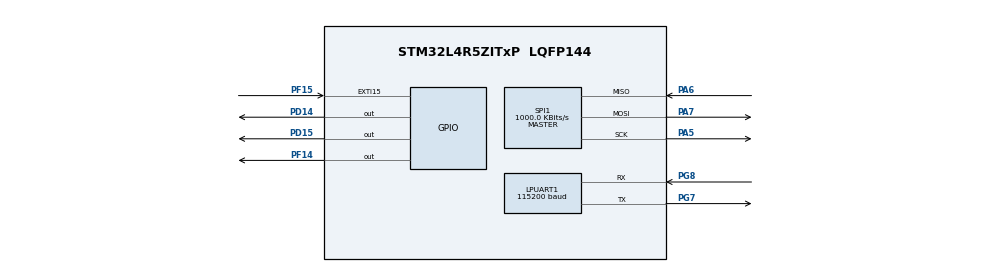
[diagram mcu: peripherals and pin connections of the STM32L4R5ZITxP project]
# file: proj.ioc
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LPUART1.BaudRate=115200
LPUART1.WordLength=UART_WORDLENGTH_8B
Mcu.Family=STM32L4
Mcu.Name=STM32L4R5ZITxP
Mcu.Package=LQFP144
NVIC.EXTI15_10_IRQn=true\:0\:0\:false\:false\:true\:true\:true\:true
NVIC.PriorityGroup=NVIC_PRIORITYGROUP_4
PA0.Signal=S_TIM2_CH1
PA1.Signal=ADCx_IN6
PA10.Signal=USB_OTG_FS_ID
PA13\ (JTMS/SWDIO).Signal=SYS_JTMS-SWDIO
PA14\ (JTCK/SWCLK).Signal=SYS_JTCK-SWCLK
PA3.Signal=ADCx_IN8
PA4.Signal=SPI1_NSS
PA5.Mode=Full_Duplex_Master
PA5.Signal=SPI1_SCK
PA6.Mode=Full_Duplex_Master
PA6.Signal=SPI1_MISO
PA7.Mode=Full_Duplex_Master
PA7.Signal=SPI1_MOSI
PA8.Signal=USB_OTG_FS_SOF
PA9.Signal=USB_OTG_FS_VBUS
PB0.Signal=S_TIM3_CH3
PB1.Signal=ADCx_IN16
PB10.Signal=S_TIM2_CH3
PB12.Signal=SAI2_FS_A
PB13.Signal=SAI2_SCK_A
PB14.Signal=S_TIM15_CH1
PB15.Signal=SAI2_SD_A
PB2.Signal=COMP1_INP
PB3\ (JTDO/TRACESWO).Signal=SPI3_SCK
PB4\ (NJTRST).Signal=SPI3_MISO
PB5.Signal=SPI3_MOSI
PB6.Signal=COMP2_INP
PB8.Signal=I2C1_SCL
PB9.Signal=I2C1_SDA
PC0.Signal=ADCx_IN1
PC1.Signal=ADCx_IN2
PC10.Signal=SDMMC1_D2
PC11.Signal=SDMMC1_D3
PC12.Signal=SDMMC1_CK
PC13.Signal=SYS_WKUP2
PC14-OSC32_IN\ (PC14).Signal=RCC_OSC32_IN
PC15-OSC32_OUT\ (PC15).Signal=RCC_OSC32_OUT
PC2.Signal=ADCx_IN3
PC3.Signal=ADCx_IN4
PC4.Signal=ADCx_IN13
PC5.Signal=ADCx_IN14
PC6.Signal=SAI2_MCLK_A
PC7.Signal=S_TIM3_CH2
PC8.Signal=SDMMC1_D0
PC9.Signal=SDMMC1_D1
PD0.Signal=CAN1_RX
PD14.GPIO_Speed=GPIO_SPEED_FREQ_HIGH
PD14.PinState=GPIO_PIN_SET
PD14.Signal=GPIO_Output
PD15.GPIO_Speed=GPIO_SPEED_FREQ_HIGH
PD15.Signal=GPIO_Output
PD2.Signal=SDMMC1_CMD
PD3.Signal=USART2_CTS
PD4.Signal=USART2_RTS
PD5.Signal=USART2_TX
PD6.Signal=USART2_RX
PD8.Signal=USART3_TX
PD9.Signal=USART3_RX
PE0.Signal=S_TIM4_ETR
PE10.Signal=TIM1_CH2N
PE11.Signal=S_TIM1_CH2
PE12.Signal=TIM1_CH3N
PE13.Signal=S_TIM1_CH3
PE14.Signal=TIM1_BKIN2
PE15.Signal=TIM1_BKIN
PE2.Signal=SAI1_MCLK_A
PE3.Signal=SAI1_SD_B
PE7.Signal=S_TIM1_ETR
PE8.Signal=TIM1_CH1N
PE9.Signal=S_TIM1_CH1
PF0.Signal=I2C2_SDA
PF1.Signal=I2C2_SCL
PF14.PinState=GPIO_PIN_SET
PF14.Signal=GPIO_Output
PF15.GPIO_ModeDefaultEXTI=GPIO_MODE_IT_FALLING
PF15.Signal=GPXTI15
PF2.Signal=I2C2_SMBA
PF7.Signal=SAI1_MCLK_B
PG7.Mode=Asynchronous
PG7.Signal=LPUART1_TX
PG8.Mode=Asynchronous
PG8.Signal=LPUART1_RX
PH0-OSC_IN\ (PH0).Signal=RCC_OSC_IN
PH1-OSC_OUT\ (PH1).Signal=RCC_OSC_OUT
ProjectManager.HeapSize=0x200
ProjectManager.StackSize=0x400
ProjectManager.TargetToolchain=STM32CubeIDE
RCC.HSE_VALUE=8000000
RCC.HSI48_VALUE=48000000
RCC.HSI_VALUE=16000000
RCC.LSE_VALUE=32768
RCC.MSI_VALUE=4000000
RCC.VCOOutputFreq_Value=32000000
SH.ADCx_IN1.0=ADC1_IN1
SH.ADCx_IN13.0=ADC1_IN13
SH.ADCx_IN14.0=ADC1_IN14
SH.ADCx_IN16.0=ADC1_IN16
SH.ADCx_IN2.0=ADC1_IN2
SH.ADCx_IN3.0=ADC1_IN3
SH.ADCx_IN4.0=ADC1_IN4
SH.ADCx_IN6.0=ADC1_IN6
SH.ADCx_IN8.0=ADC1_IN8
SH.S_TIM15_CH1.0=TIM15_CH1
SH.S_TIM1_CH1.0=TIM1_CH1
SH.S_TIM1_CH2.0=TIM1_CH2
SH.S_TIM1_CH3.0=TIM1_CH3
SH.S_TIM1_ETR.0=TIM1_ETR
SH.S_TIM2_CH1.0=TIM2_CH1
SH.S_TIM2_CH3.0=TIM2_CH3
SH.S_TIM3_CH2.0=TIM3_CH2
SH.S_TIM3_CH3.0=TIM3_CH3
SH.S_TIM4_ETR.0=TIM4_ETR
SPI1.BaudRatePrescaler=SPI_BAUDRATEPRESCALER_4
SPI1.CalculateBaudRate=1000.0 KBits/s
SPI1.DataSize=SPI_DATASIZE_8BIT
SPI1.Direction=SPI_DIRECTION_2LINES
SPI1.Mode=SPI_MODE_MASTER
SPI1.NSSPMode=SPI_NSS_PULSE_DISABLE
SPI1.VirtualType=VM_MASTER
board=NUCLEO-L4R5ZI-P

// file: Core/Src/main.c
/* USER CODE BEGIN Header */
/**
  ******************************************************************************
  * @file           : main.c
  * @brief          : Main program body
  ******************************************************************************
  * @attention
  *
  * Copyright (c) 2025 STMicroelectronics.
  * All rights reserved.
  *
  * This software is licensed under terms that can be found in the LICENSE file
  * in the root directory of this software component.
  * If no LICENSE file comes with this software, it is provided AS-IS.
  *
  ******************************************************************************
  */
/* USER CODE END Header */
#include "main.h"

/* USER CODE BEGIN Includes */

#include "net_w5500.h"

/* USER CODE END Includes */

/* USER CODE BEGIN PD */
#define W5500_CS_GPIO_Port   GPIOD
#define W5500_CS_Pin         GPIO_PIN_14   // your CS

#define W5500_INT_GPIO_Port  GPIOF
#define W5500_INT_Pin        GPIO_PIN_15

#define W5500_RST_GPIO_Port   GPIOD
#define W5500_RST_Pin         GPIO_PIN_15

#define W5500_COMMON_BLOCK   0x00  // BSB for common regs
#define W5500_OM_VDM         0x00  // variable data length mode
#define W5500_RWB_READ       0x01  // <-- note: this bit position depends on datasheet bitfield; see note below

static inline void W5500_Select(void)   { HAL_GPIO_WritePin(W5500_CS_GPIO_Port, W5500_CS_Pin, GPIO_PIN_RESET); }
static inline void W5500_Deselect(void) { HAL_GPIO_WritePin(W5500_CS_GPIO_Port, W5500_CS_Pin, GPIO_PIN_SET); }

UART_HandleTypeDef hlpuart1;  // we'll use LPUART1 on PG7(TX)/PG8(RX)

/* USER CODE END PD */

UART_HandleTypeDef hlpuart1;

SPI_HandleTypeDef hspi1;

void SystemClock_Config(void);
static void MX_GPIO_Init(void);
static void MX_SPI1_Init(void);
static void MX_LPUART1_UART_Init(void);

/* USER CODE BEGIN 0 */

// 1-byte SPI xfer helper
static uint8_t spi_txrx1(uint8_t v) {
  uint8_t rx;
  HAL_SPI_TransmitReceive(&hspi1, &v, &rx, 1, HAL_MAX_DELAY);
  return rx;
}

//void HAL_GPIO_EXTI_Callback(uint16_t GPIO_Pin) {
//  if (GPIO_Pin == W5500_INT_Pin) {
//    net_w5500_irq_handler();
//  }
//}

uint8_t W5500_ReadVersion(void) {
  uint8_t ver;
  W5500_Select();
  spi_txrx1(0x00); // Address High (VERSIONR = 0x0039)
  spi_txrx1(0x39); // Address Low
  spi_txrx1(0x00); // Control: Common Block, Read, VDM Mode
  ver = spi_txrx1(0x00); // Dummy byte to clock in the data
  W5500_Deselect();
  return ver;
}

int _write(int file, char *ptr, int len)
{
  (void)file;
  HAL_UART_Transmit(&hlpuart1, (uint8_t *)ptr, len, HAL_MAX_DELAY);
  return len;
}

/* USER CODE END 0 */

int main(void)
{

  /* MCU Configuration--------------------------------------------------------*/

  /* Reset of all peripherals, Initializes the Flash interface and the Systick. */
  HAL_Init();

  /* Configure the system clock */
  SystemClock_Config();

  /* Initialize all configured peripherals */
  MX_GPIO_Init();
  MX_SPI1_Init();
  MX_LPUART1_UART_Init();
  /* USER CODE BEGIN 2 */

  ethernet_start();                   // DHCP → static fallback
  net_start_server(NET_SERVER_PORT);  // default 5000

  printf("nc -v <ip> %u\r\n", NET_SERVER_PORT);
  printf("nc -v <ip> 5000   (type lines, press Enter)\r\n");

  int last_connected = 0;
  uint32_t last_tick = 0;

  for (;;) {
	// keep the socket serviced
	net_poll();

	// verify connection status
	int connected = net_is_connected();

    // Send a one-time greeting right after a client connects
    if (connected && !last_connected) {
      printf("Connected!\n");
      net_send_str("Hello from Nucleo! Type something and press Enter; I'll echo ACK.");
    }

    // Example: send a periodic message every 1s while connected
    uint32_t now = HAL_GetTick();
    if (connected && (now - last_tick) >= 1000) {
      char buf[64];
      snprintf(buf, sizeof buf, "tick %lu ms\n", (unsigned long)now);
      net_send_str(buf);
      last_tick = now;
    }

    char line[256];
    int n = net_recv_line(line, sizeof line, 0);  // non-blocking
    if (n > 0) {
      HAL_UART_Transmit(&hlpuart1, (uint8_t*)"RX: ", 4, HAL_MAX_DELAY);
      HAL_UART_Transmit(&hlpuart1, (uint8_t*)line, n, HAL_MAX_DELAY);
      HAL_UART_Transmit(&hlpuart1, (uint8_t*)"\n", 1, HAL_MAX_DELAY);

      net_send_str("ACK: ");
      net_send_str(line);
      net_send_str("\n");
    }

    last_connected = connected;
  }

  /* USER CODE END 2 */

  /* Infinite loop */
  while (1)
  {

  }
}

void SystemClock_Config(void)
{
  RCC_OscInitTypeDef RCC_OscInitStruct = {0};
  RCC_ClkInitTypeDef RCC_ClkInitStruct = {0};

  /** Configure the main internal regulator output voltage
  */
  if (HAL_PWREx_ControlVoltageScaling(PWR_REGULATOR_VOLTAGE_SCALE1) != HAL_OK)
  {
    Error_Handler();
  }

  /** Initializes the RCC Oscillators according to the specified parameters
  * in the RCC_OscInitTypeDef structure.
  */
  RCC_OscInitStruct.OscillatorType = RCC_OSCILLATORTYPE_MSI;
  RCC_OscInitStruct.MSIState = RCC_MSI_ON;
  RCC_OscInitStruct.MSICalibrationValue = 0;
  RCC_OscInitStruct.MSIClockRange = RCC_MSIRANGE_6;
  RCC_OscInitStruct.PLL.PLLState = RCC_PLL_NONE;
  if (HAL_RCC_OscConfig(&RCC_OscInitStruct) != HAL_OK)
  {
    Error_Handler();
  }

  /** Initializes the CPU, AHB and APB buses clocks
  */
  RCC_ClkInitStruct.ClockType = RCC_CLOCKTYPE_HCLK|RCC_CLOCKTYPE_SYSCLK
                              |RCC_CLOCKTYPE_PCLK1|RCC_CLOCKTYPE_PCLK2;
  RCC_ClkInitStruct.SYSCLKSource = RCC_SYSCLKSOURCE_MSI;
  RCC_ClkInitStruct.AHBCLKDivider = RCC_SYSCLK_DIV1;
  RCC_ClkInitStruct.APB1CLKDivider = RCC_HCLK_DIV1;
  RCC_ClkInitStruct.APB2CLKDivider = RCC_HCLK_DIV1;

  if (HAL_RCC_ClockConfig(&RCC_ClkInitStruct, FLASH_LATENCY_0) != HAL_OK)
  {
    Error_Handler();
  }
}

static void MX_LPUART1_UART_Init(void)
{

  hlpuart1.Instance = LPUART1;
  hlpuart1.Init.BaudRate = 115200;
  hlpuart1.Init.WordLength = UART_WORDLENGTH_8B;
  hlpuart1.Init.StopBits = UART_STOPBITS_1;
  hlpuart1.Init.Parity = UART_PARITY_NONE;
  hlpuart1.Init.Mode = UART_MODE_TX_RX;
  hlpuart1.Init.HwFlowCtl = UART_HWCONTROL_NONE;
  hlpuart1.Init.OneBitSampling = UART_ONE_BIT_SAMPLE_DISABLE;
  hlpuart1.Init.ClockPrescaler = UART_PRESCALER_DIV1;
  hlpuart1.AdvancedInit.AdvFeatureInit = UART_ADVFEATURE_NO_INIT;
  hlpuart1.FifoMode = UART_FIFOMODE_DISABLE;
  if (HAL_UART_Init(&hlpuart1) != HAL_OK)
  {
    Error_Handler();
  }
  if (HAL_UARTEx_SetTxFifoThreshold(&hlpuart1, UART_TXFIFO_THRESHOLD_1_8) != HAL_OK)
  {
    Error_Handler();
  }
  if (HAL_UARTEx_SetRxFifoThreshold(&hlpuart1, UART_RXFIFO_THRESHOLD_1_8) != HAL_OK)
  {
    Error_Handler();
  }
  if (HAL_UARTEx_DisableFifoMode(&hlpuart1) != HAL_OK)
  {
    Error_Handler();
  }

}

static void MX_SPI1_Init(void)
{

  /* SPI1 parameter configuration*/
  hspi1.Instance = SPI1;
  hspi1.Init.Mode = SPI_MODE_MASTER;
  hspi1.Init.Direction = SPI_DIRECTION_2LINES;
  hspi1.Init.DataSize = SPI_DATASIZE_8BIT;
  hspi1.Init.CLKPolarity = SPI_POLARITY_LOW;
  hspi1.Init.CLKPhase = SPI_PHASE_1EDGE;
  hspi1.Init.NSS = SPI_NSS_SOFT;
  hspi1.Init.BaudRatePrescaler = SPI_BAUDRATEPRESCALER_4;
  hspi1.Init.FirstBit = SPI_FIRSTBIT_MSB;
  hspi1.Init.TIMode = SPI_TIMODE_DISABLE;
  hspi1.Init.CRCCalculation = SPI_CRCCALCULATION_DISABLE;
  hspi1.Init.CRCPolynomial = 7;
  hspi1.Init.CRCLength = SPI_CRC_LENGTH_DATASIZE;
  hspi1.Init.NSSPMode = SPI_NSS_PULSE_DISABLE;
  if (HAL_SPI_Init(&hspi1) != HAL_OK)
  {
    Error_Handler();
  }

}

static void MX_GPIO_Init(void)
{
  GPIO_InitTypeDef GPIO_InitStruct = {0};

  /* GPIO Ports Clock Enable */
  __HAL_RCC_GPIOE_CLK_ENABLE();
  __HAL_RCC_GPIOC_CLK_ENABLE();
  __HAL_RCC_GPIOF_CLK_ENABLE();
  __HAL_RCC_GPIOH_CLK_ENABLE();
  __HAL_RCC_GPIOA_CLK_ENABLE();
  __HAL_RCC_GPIOB_CLK_ENABLE();
  __HAL_RCC_GPIOD_CLK_ENABLE();
  __HAL_RCC_GPIOG_CLK_ENABLE();
  HAL_PWREx_EnableVddIO2();

  /*Configure GPIO pin Output Level */
  HAL_GPIO_WritePin(GPIOF, GPIO_PIN_14, GPIO_PIN_SET);

  /*Configure GPIO pin Output Level */
  HAL_GPIO_WritePin(GPIOD, GPIO_PIN_14, GPIO_PIN_SET);

  /*Configure GPIO pin Output Level */
  HAL_GPIO_WritePin(GPIOD, GPIO_PIN_15, GPIO_PIN_RESET);

  /*Configure GPIO pins : PE2 PE3 */
  GPIO_InitStruct.Pin = GPIO_PIN_2|GPIO_PIN_3;
  GPIO_InitStruct.Mode = GPIO_MODE_AF_PP;
  GPIO_InitStruct.Pull = GPIO_NOPULL;
  GPIO_InitStruct.Speed = GPIO_SPEED_FREQ_LOW;
  GPIO_InitStruct.Alternate = GPIO_AF13_SAI1;
  HAL_GPIO_Init(GPIOE, &GPIO_InitStruct);

  /*Configure GPIO pins : PF0 PF1 PF2 */
  GPIO_InitStruct.Pin = GPIO_PIN_0|GPIO_PIN_1|GPIO_PIN_2;
  GPIO_InitStruct.Mode = GPIO_MODE_AF_OD;
  GPIO_InitStruct.Pull = GPIO_NOPULL;
  GPIO_InitStruct.Speed = GPIO_SPEED_FREQ_VERY_HIGH;
  GPIO_InitStruct.Alternate = GPIO_AF4_I2C2;
  HAL_GPIO_Init(GPIOF, &GPIO_InitStruct);

  /*Configure GPIO pin : PF7 */
  GPIO_InitStruct.Pin = GPIO_PIN_7;
  GPIO_InitStruct.Mode = GPIO_MODE_AF_PP;
  GPIO_InitStruct.Pull = GPIO_NOPULL;
  GPIO_InitStruct.Speed = GPIO_SPEED_FREQ_LOW;
  GPIO_InitStruct.Alternate = GPIO_AF13_SAI1;
  HAL_GPIO_Init(GPIOF, &GPIO_InitStruct);

  /*Configure GPIO pins : PC0 PC1 PC2 PC3
                           PC4 PC5 */
  GPIO_InitStruct.Pin = GPIO_PIN_0|GPIO_PIN_1|GPIO_PIN_2|GPIO_PIN_3
                          |GPIO_PIN_4|GPIO_PIN_5;
  GPIO_InitStruct.Mode = GPIO_MODE_ANALOG_ADC_CONTROL;
  GPIO_InitStruct.Pull = GPIO_NOPULL;
  HAL_GPIO_Init(GPIOC, &GPIO_InitStruct);

  /*Configure GPIO pin : PA0 */
  GPIO_InitStruct.Pin = GPIO_PIN_0;
  GPIO_InitStruct.Mode = GPIO_MODE_AF_PP;
  GPIO_InitStruct.Pull = GPIO_NOPULL;
  GPIO_InitStruct.Speed = GPIO_SPEED_FREQ_LOW;
  GPIO_InitStruct.Alternate = GPIO_AF1_TIM2;
  HAL_GPIO_Init(GPIOA, &GPIO_InitStruct);

  /*Configure GPIO pins : PA1 PA3 */
  GPIO_InitStruct.Pin = GPIO_PIN_1|GPIO_PIN_3;
  GPIO_InitStruct.Mode = GPIO_MODE_ANALOG_ADC_CONTROL;
  GPIO_InitStruct.Pull = GPIO_NOPULL;
  HAL_GPIO_Init(GPIOA, &GPIO_InitStruct);

  /*Configure GPIO pin : PB0 */
  GPIO_InitStruct.Pin = GPIO_PIN_0;
  GPIO_InitStruct.Mode = GPIO_MODE_AF_PP;
  GPIO_InitStruct.Pull = GPIO_NOPULL;
  GPIO_InitStruct.Speed = GPIO_SPEED_FREQ_LOW;
  GPIO_InitStruct.Alternate = GPIO_AF2_TIM3;
  HAL_GPIO_Init(GPIOB, &GPIO_InitStruct);

  /*Configure GPIO pin : PB1 */
  GPIO_InitStruct.Pin = GPIO_PIN_1;
  GPIO_InitStruct.Mode = GPIO_MODE_ANALOG_ADC_CONTROL;
  GPIO_InitStruct.Pull = GPIO_NOPULL;
  HAL_GPIO_Init(GPIOB, &GPIO_InitStruct);

  /*Configure GPIO pins : PB2 PB6 */
  GPIO_InitStruct.Pin = GPIO_PIN_2|GPIO_PIN_6;
  GPIO_InitStruct.Mode = GPIO_MODE_ANALOG;
  GPIO_InitStruct.Pull = GPIO_NOPULL;
  HAL_GPIO_Init(GPIOB, &GPIO_InitStruct);

  /*Configure GPIO pin : PF14 */
  GPIO_InitStruct.Pin = GPIO_PIN_14;
  GPIO_InitStruct.Mode = GPIO_MODE_OUTPUT_PP;
  GPIO_InitStruct.Pull = GPIO_NOPULL;
  GPIO_InitStruct.Speed = GPIO_SPEED_FREQ_LOW;
  HAL_GPIO_Init(GPIOF, &GPIO_InitStruct);

  /*Configure GPIO pin : PF15 */
  GPIO_InitStruct.Pin = GPIO_PIN_15;
  GPIO_InitStruct.Mode = GPIO_MODE_IT_FALLING;
  GPIO_InitStruct.Pull = GPIO_NOPULL;
  HAL_GPIO_Init(GPIOF, &GPIO_InitStruct);

  /*Configure GPIO pins : PE7 PE8 PE9 PE10
                           PE11 PE12 PE13 */
  GPIO_InitStruct.Pin = GPIO_PIN_7|GPIO_PIN_8|GPIO_PIN_9|GPIO_PIN_10
                          |GPIO_PIN_11|GPIO_PIN_12|GPIO_PIN_13;
  GPIO_InitStruct.Mode = GPIO_MODE_AF_PP;
  GPIO_InitStruct.Pull = GPIO_NOPULL;
  GPIO_InitStruct.Speed = GPIO_SPEED_FREQ_LOW;
  GPIO_InitStruct.Alternate = GPIO_AF1_TIM1;
  HAL_GPIO_Init(GPIOE, &GPIO_InitStruct);

  /*Configure GPIO pins : PE14 PE15 */
  GPIO_InitStruct.Pin = GPIO_PIN_14|GPIO_PIN_15;
  GPIO_InitStruct.Mode = GPIO_MODE_AF_PP;
  GPIO_InitStruct.Pull = GPIO_NOPULL;
  GPIO_InitStruct.Speed = GPIO_SPEED_FREQ_LOW;
  GPIO_InitStruct.Alternate = GPIO_AF3_TIM1_COMP1;
  HAL_GPIO_Init(GPIOE, &GPIO_InitStruct);

  /*Configure GPIO pin : PB10 */
  GPIO_InitStruct.Pin = GPIO_PIN_10;
  GPIO_InitStruct.Mode = GPIO_MODE_AF_PP;
  GPIO_InitStruct.Pull = GPIO_NOPULL;
  GPIO_InitStruct.Speed = GPIO_SPEED_FREQ_LOW;
  GPIO_InitStruct.Alternate = GPIO_AF1_TIM2;
  HAL_GPIO_Init(GPIOB, &GPIO_InitStruct);

  /*Configure GPIO pins : PB12 PB13 PB15 */
  GPIO_InitStruct.Pin = GPIO_PIN_12|GPIO_PIN_13|GPIO_PIN_15;
  GPIO_InitStruct.Mode = GPIO_MODE_AF_PP;
  GPIO_InitStruct.Pull = GPIO_NOPULL;
  GPIO_InitStruct.Speed = GPIO_SPEED_FREQ_LOW;
  GPIO_InitStruct.Alternate = GPIO_AF13_SAI2;
  HAL_GPIO_Init(GPIOB, &GPIO_InitStruct);

  /*Configure GPIO pin : PB14 */
  GPIO_InitStruct.Pin = GPIO_PIN_14;
  GPIO_InitStruct.Mode = GPIO_MODE_AF_PP;
  GPIO_InitStruct.Pull = GPIO_NOPULL;
  GPIO_InitStruct.Speed = GPIO_SPEED_FREQ_LOW;
  GPIO_InitStruct.Alternate = GPIO_AF14_TIM15;
  HAL_GPIO_Init(GPIOB, &GPIO_InitStruct);

  /*Configure GPIO pins : PD8 PD9 */
  GPIO_InitStruct.Pin = GPIO_PIN_8|GPIO_PIN_9;
  GPIO_InitStruct.Mode = GPIO_MODE_AF_PP;
  GPIO_InitStruct.Pull = GPIO_NOPULL;
  GPIO_InitStruct.Speed = GPIO_SPEED_FREQ_VERY_HIGH;
  GPIO_InitStruct.Alternate = GPIO_AF7_USART3;
  HAL_GPIO_Init(GPIOD, &GPIO_InitStruct);

  /*Configure GPIO pins : PD14 PD15 */
  GPIO_InitStruct.Pin = GPIO_PIN_14|GPIO_PIN_15;
  GPIO_InitStruct.Mode = GPIO_MODE_OUTPUT_PP;
  GPIO_InitStruct.Pull = GPIO_NOPULL;
  GPIO_InitStruct.Speed = GPIO_SPEED_FREQ_HIGH;
  HAL_GPIO_Init(GPIOD, &GPIO_InitStruct);

  /*Configure GPIO pin : PC6 */
  GPIO_InitStruct.Pin = GPIO_PIN_6;
  GPIO_InitStruct.Mode = GPIO_MODE_AF_PP;
  GPIO_InitStruct.Pull = GPIO_NOPULL;
  GPIO_InitStruct.Speed = GPIO_SPEED_FREQ_LOW;
  GPIO_InitStruct.Alternate = GPIO_AF13_SAI2;
  HAL_GPIO_Init(GPIOC, &GPIO_InitStruct);

  /*Configure GPIO pin : PC7 */
  GPIO_InitStruct.Pin = GPIO_PIN_7;
  GPIO_InitStruct.Mode = GPIO_MODE_AF_PP;
  GPIO_InitStruct.Pull = GPIO_NOPULL;
  GPIO_InitStruct.Speed = GPIO_SPEED_FREQ_LOW;
  GPIO_InitStruct.Alternate = GPIO_AF2_TIM3;
  HAL_GPIO_Init(GPIOC, &GPIO_InitStruct);

  /*Configure GPIO pins : PC8 PC9 PC10 PC11
                           PC12 */
  GPIO_InitStruct.Pin = GPIO_PIN_8|GPIO_PIN_9|GPIO_PIN_10|GPIO_PIN_11
                          |GPIO_PIN_12;
  GPIO_InitStruct.Mode = GPIO_MODE_AF_PP;
  GPIO_InitStruct.Pull = GPIO_NOPULL;
  GPIO_InitStruct.Speed = GPIO_SPEED_FREQ_VERY_HIGH;
  GPIO_InitStruct.Alternate = GPIO_AF12_SDMMC1;
  HAL_GPIO_Init(GPIOC, &GPIO_InitStruct);

  /*Configure GPIO pins : PA8 PA10 */
  GPIO_InitStruct.Pin = GPIO_PIN_8|GPIO_PIN_10;
  GPIO_InitStruct.Mode = GPIO_MODE_AF_PP;
  GPIO_InitStruct.Pull = GPIO_NOPULL;
  GPIO_InitStruct.Speed = GPIO_SPEED_FREQ_VERY_HIGH;
  GPIO_InitStruct.Alternate = GPIO_AF10_OTG_FS;
  HAL_GPIO_Init(GPIOA, &GPIO_InitStruct);

  /*Configure GPIO pin : PA9 */
  GPIO_InitStruct.Pin = GPIO_PIN_9;
  GPIO_InitStruct.Mode = GPIO_MODE_INPUT;
  GPIO_InitStruct.Pull = GPIO_NOPULL;
  HAL_GPIO_Init(GPIOA, &GPIO_InitStruct);

  /*Configure GPIO pin : PD0 */
  GPIO_InitStruct.Pin = GPIO_PIN_0;
  GPIO_InitStruct.Mode = GPIO_MODE_AF_PP;
  GPIO_InitStruct.Pull = GPIO_NOPULL;
  GPIO_InitStruct.Speed = GPIO_SPEED_FREQ_VERY_HIGH;
  GPIO_InitStruct.Alternate = GPIO_AF9_CAN1;
  HAL_GPIO_Init(GPIOD, &GPIO_InitStruct);

  /*Configure GPIO pin : PD2 */
  GPIO_InitStruct.Pin = GPIO_PIN_2;
  GPIO_InitStruct.Mode = GPIO_MODE_AF_PP;
  GPIO_InitStruct.Pull = GPIO_NOPULL;
  GPIO_InitStruct.Speed = GPIO_SPEED_FREQ_VERY_HIGH;
  GPIO_InitStruct.Alternate = GPIO_AF12_SDMMC1;
  HAL_GPIO_Init(GPIOD, &GPIO_InitStruct);

  /*Configure GPIO pins : PD3 PD4 PD5 PD6 */
  GPIO_InitStruct.Pin = GPIO_PIN_3|GPIO_PIN_4|GPIO_PIN_5|GPIO_PIN_6;
  GPIO_InitStruct.Mode = GPIO_MODE_AF_PP;
  GPIO_InitStruct.Pull = GPIO_NOPULL;
  GPIO_InitStruct.Speed = GPIO_SPEED_FREQ_VERY_HIGH;
  GPIO_InitStruct.Alternate = GPIO_AF7_USART2;
  HAL_GPIO_Init(GPIOD, &GPIO_InitStruct);

  /*Configure GPIO pins : PB3 PB4 PB5 */
  GPIO_InitStruct.Pin = GPIO_PIN_3|GPIO_PIN_4|GPIO_PIN_5;
  GPIO_InitStruct.Mode = GPIO_MODE_AF_PP;
  GPIO_InitStruct.Pull = GPIO_NOPULL;
  GPIO_InitStruct.Speed = GPIO_SPEED_FREQ_VERY_HIGH;
  GPIO_InitStruct.Alternate = GPIO_AF6_SPI3;
  HAL_GPIO_Init(GPIOB, &GPIO_InitStruct);

  /*Configure GPIO pins : PB8 PB9 */
  GPIO_InitStruct.Pin = GPIO_PIN_8|GPIO_PIN_9;
  GPIO_InitStruct.Mode = GPIO_MODE_AF_OD;
  GPIO_InitStruct.Pull = GPIO_NOPULL;
  GPIO_InitStruct.Speed = GPIO_SPEED_FREQ_VERY_HIGH;
  GPIO_InitStruct.Alternate = GPIO_AF4_I2C1;
  HAL_GPIO_Init(GPIOB, &GPIO_InitStruct);

  /*Configure GPIO pin : PE0 */
  GPIO_InitStruct.Pin = GPIO_PIN_0;
  GPIO_InitStruct.Mode = GPIO_MODE_AF_PP;
  GPIO_InitStruct.Pull = GPIO_NOPULL;
  GPIO_InitStruct.Speed = GPIO_SPEED_FREQ_LOW;
  GPIO_InitStruct.Alternate = GPIO_AF2_TIM4;
  HAL_GPIO_Init(GPIOE, &GPIO_InitStruct);

  /* EXTI interrupt init*/
  HAL_NVIC_SetPriority(EXTI15_10_IRQn, 0, 0);
  HAL_NVIC_EnableIRQ(EXTI15_10_IRQn);

  /* USER CODE BEGIN MX_GPIO_Init_2 */

  // MARK- my code
  // configure PA5/6/7 for SPI
  GPIO_InitStruct.Pin = GPIO_PIN_5 | GPIO_PIN_6 | GPIO_PIN_7;
  GPIO_InitStruct.Mode = GPIO_MODE_AF_PP;
  GPIO_InitStruct.Pull = GPIO_NOPULL;
  GPIO_InitStruct.Speed = GPIO_SPEED_FREQ_VERY_HIGH;
  GPIO_InitStruct.Alternate = GPIO_AF5_SPI1;
  HAL_GPIO_Init(GPIOA, &GPIO_InitStruct);

  /* USER CODE END MX_GPIO_Init_2 */
}

void Error_Handler(void)
{
  __disable_irq();
  while (1)
  {
  }
}
